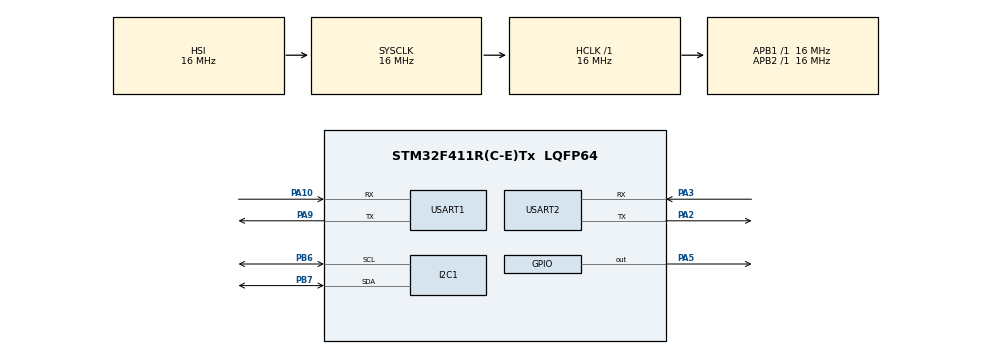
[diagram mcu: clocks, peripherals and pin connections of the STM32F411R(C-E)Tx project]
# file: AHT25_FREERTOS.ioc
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FREERTOS.Tasks01=defaultTask,0,128,StartDefaultTask,Default,NULL,Dynamic,NULL,NULL;myTask02,-3,128,StartTask02,Default,NULL,Dynamic,NULL,NULL
FREERTOS.configUSE_NEWLIB_REENTRANT=1
Mcu.Family=STM32F4
Mcu.Name=STM32F411R(C-E)Tx
Mcu.Package=LQFP64
NVIC.PriorityGroup=NVIC_PRIORITYGROUP_4
NVIC.TIM1_UP_TIM10_IRQn=true\:15\:0\:false\:false\:true\:false\:false\:true\:true
NVIC.TimeBase=TIM1_UP_TIM10_IRQn
NVIC.TimeBaseIP=TIM1
PA10.Mode=Asynchronous
PA10.Signal=USART1_RX
PA2.Mode=Asynchronous
PA2.Signal=USART2_TX
PA3.Mode=Asynchronous
PA3.Signal=USART2_RX
PA5.Signal=GPIO_Output
PA9.Mode=Asynchronous
PA9.Signal=USART1_TX
PB6.GPIO_Pu=GPIO_PULLUP
PB6.Mode=I2C
PB6.Signal=I2C1_SCL
PB7.GPIO_Pu=GPIO_PULLUP
PB7.Mode=I2C
PB7.Signal=I2C1_SDA
PH0\ -\ OSC_IN.Mode=HSE-External-Oscillator
PH0\ -\ OSC_IN.Signal=RCC_OSC_IN
PH1\ -\ OSC_OUT.Mode=HSE-External-Oscillator
PH1\ -\ OSC_OUT.Signal=RCC_OSC_OUT
ProjectManager.HeapSize=0x200
ProjectManager.StackSize=0x400
ProjectManager.TargetToolchain=STM32CubeIDE
RCC.AHBFreq_Value=16000000
RCC.APB1Freq_Value=16000000
RCC.APB2Freq_Value=16000000
RCC.CortexFreq_Value=16000000
RCC.HSE_VALUE=25000000
RCC.HSI_VALUE=16000000
RCC.LSE_VALUE=32768
RCC.SYSCLKFreq_VALUE=16000000
RCC.VCOOutputFreq_Value=192000000
USART1.VirtualMode=VM_ASYNC
USART2.VirtualMode=VM_ASYNC
VP_FREERTOS_VS_CMSIS_V1.Mode=CMSIS_V1
VP_SYS_VS_tim1.Mode=TIM1
board=custom

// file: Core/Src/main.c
/* USER CODE BEGIN Header */
/**
  ******************************************************************************
  * @file           : main.c
  * @brief          : Main program body
  ******************************************************************************
  * @attention
  *
  * Copyright (c) 2023 STMicroelectronics.
  * All rights reserved.
  *
  * This software is licensed under terms that can be found in the LICENSE file
  * in the root directory of this software component.
  * If no LICENSE file comes with this software, it is provided AS-IS.
  *
  ******************************************************************************
  */
/* USER CODE END Header */
#include "main.h"
#include "cmsis_os.h"
//#include "task.h"
#include "string.h"
#include "stdio.h"

I2C_HandleTypeDef hi2c1;

UART_HandleTypeDef huart1;
UART_HandleTypeDef huart2;

osThreadId TaskHandle1;
osThreadId TaskHandle2;
osThreadId TaskHandle3;

void SystemClock_Config(void);
static void MX_GPIO_Init(void);
static void MX_I2C1_Init(void);
static void MX_USART1_UART_Init(void);
static void MX_USART2_UART_Init(void);
void StartTask1(void const * argument);
void StartTask2(void const * argument);
void StartTask3(void const * argument);

/* USER CODE BEGIN PFP */
char buffer[128];

/* USER CODE END PFP */

/* USER CODE BEGIN 0 */
void send_task1(void)
{

	sprintf(buffer, ".....TASK_1_LED_TOGGLE.....\n\r");
	HAL_UART_Transmit(&huart2, (uint8_t*)buffer, strlen(buffer), 1000);

}
void send_task_1(void)
{

	HAL_GPIO_TogglePin(GPIOA, GPIO_PIN_5);

}
void send_task2(void)
{

	sprintf(buffer, ".....TASK_2.....\n\r");
	HAL_UART_Transmit(&huart2, (uint8_t*)buffer, strlen(buffer), 1000);

}
void send_task3(void)
{

	sprintf(buffer, ".....TASK_3.....\n\r");
	HAL_UART_Transmit(&huart2, (uint8_t*)buffer, strlen(buffer), 1000);

}

/* USER CODE END 0 */

int main(void)
{

  /* MCU Configuration--------------------------------------------------------*/

  /* Reset of all peripherals, Initializes the Flash interface and the Systick. */
  HAL_Init();

  /* Configure the system clock */
  SystemClock_Config();

  /* Initialize all configured peripherals */
  MX_GPIO_Init();
  MX_I2C1_Init();
  MX_USART1_UART_Init();
  MX_USART2_UART_Init();
  /* USER CODE BEGIN 2 */
	sprintf(buffer, ".....FREEFTOS_STARTS.....\n\r");
	HAL_UART_Transmit(&huart2, (uint8_t*)buffer, strlen(buffer), 1000);

  /* USER CODE END 2 */

	  /* definition and creation of Task1 */
	  osThreadDef(Task1, StartTask1, osPriorityAboveNormal, 0, 128);
	  TaskHandle1 = osThreadCreate(osThread(Task1), NULL);

	  /* definition and creation of Task2 */
	  osThreadDef(Task2, StartTask2, osPriorityNormal, 0, 128);
	  TaskHandle2 = osThreadCreate(osThread(Task2), NULL);

	  /* definition and creation of Task3 */
	  osThreadDef(Task3, StartTask3, osPriorityBelowNormal, 0, 128);
	  TaskHandle3 = osThreadCreate(osThread(Task3), NULL);

  /* Create the thread(s) */
  /* definition and creation of Task1 */
//  osThreadDef(Task1, StartTask1, osPriorityNormal, 0, 128);
//  TaskHandle1 = osThreadCreate(osThread(Task1), NULL);
//
//  /* definition and creation of Task2 */
//  osThreadDef(Task2, StartTask2, osPriorityAboveNormal, 0, 128);
//  TaskHandle2 = osThreadCreate(osThread(Task2), NULL);
//
//  /* definition and creation of Task3 */
//  osThreadDef(Task3, StartTask3, osPriorityBelowNormal, 0, 128);
//  TaskHandle3 = osThreadCreate(osThread(Task3), NULL);

  /* Start scheduler */
  osKernelStart();
  /* We should never get here as control is now taken by the scheduler */
  /* Infinite loop */
  while (1)
  {
	  //HAL_GPIO_TogglePin(GPIOA, GPIO_PIN_5);

  }
}

void SystemClock_Config(void)
{
  RCC_OscInitTypeDef RCC_OscInitStruct = {0};
  RCC_ClkInitTypeDef RCC_ClkInitStruct = {0};

  /** Configure the main internal regulator output voltage
  */
  __HAL_RCC_PWR_CLK_ENABLE();
  __HAL_PWR_VOLTAGESCALING_CONFIG(PWR_REGULATOR_VOLTAGE_SCALE1);

  /** Initializes the RCC Oscillators according to the specified parameters
  * in the RCC_OscInitTypeDef structure.
  */
  RCC_OscInitStruct.OscillatorType = RCC_OSCILLATORTYPE_HSI;
  RCC_OscInitStruct.HSIState = RCC_HSI_ON;
  RCC_OscInitStruct.HSICalibrationValue = RCC_HSICALIBRATION_DEFAULT;
  RCC_OscInitStruct.PLL.PLLState = RCC_PLL_NONE;
  if (HAL_RCC_OscConfig(&RCC_OscInitStruct) != HAL_OK)
  {
    Error_Handler();
  }

  /** Initializes the CPU, AHB and APB buses clocks
  */
  RCC_ClkInitStruct.ClockType = RCC_CLOCKTYPE_HCLK|RCC_CLOCKTYPE_SYSCLK
                              |RCC_CLOCKTYPE_PCLK1|RCC_CLOCKTYPE_PCLK2;
  RCC_ClkInitStruct.SYSCLKSource = RCC_SYSCLKSOURCE_HSI;
  RCC_ClkInitStruct.AHBCLKDivider = RCC_SYSCLK_DIV1;
  RCC_ClkInitStruct.APB1CLKDivider = RCC_HCLK_DIV1;
  RCC_ClkInitStruct.APB2CLKDivider = RCC_HCLK_DIV1;

  if (HAL_RCC_ClockConfig(&RCC_ClkInitStruct, FLASH_LATENCY_0) != HAL_OK)
  {
    Error_Handler();
  }
}

static void MX_I2C1_Init(void)
{

  hi2c1.Instance = I2C1;
  hi2c1.Init.ClockSpeed = 100000;
  hi2c1.Init.DutyCycle = I2C_DUTYCYCLE_2;
  hi2c1.Init.OwnAddress1 = 0;
  hi2c1.Init.AddressingMode = I2C_ADDRESSINGMODE_7BIT;
  hi2c1.Init.DualAddressMode = I2C_DUALADDRESS_DISABLE;
  hi2c1.Init.OwnAddress2 = 0;
  hi2c1.Init.GeneralCallMode = I2C_GENERALCALL_DISABLE;
  hi2c1.Init.NoStretchMode = I2C_NOSTRETCH_DISABLE;
  if (HAL_I2C_Init(&hi2c1) != HAL_OK)
  {
    Error_Handler();
  }

}

static void MX_USART1_UART_Init(void)
{

  huart1.Instance = USART1;
  huart1.Init.BaudRate = 115200;
  huart1.Init.WordLength = UART_WORDLENGTH_8B;
  huart1.Init.StopBits = UART_STOPBITS_1;
  huart1.Init.Parity = UART_PARITY_NONE;
  huart1.Init.Mode = UART_MODE_TX_RX;
  huart1.Init.HwFlowCtl = UART_HWCONTROL_NONE;
  huart1.Init.OverSampling = UART_OVERSAMPLING_16;
  if (HAL_UART_Init(&huart1) != HAL_OK)
  {
    Error_Handler();
  }

}

static void MX_USART2_UART_Init(void)
{

  huart2.Instance = USART2;
  huart2.Init.BaudRate = 115200;
  huart2.Init.WordLength = UART_WORDLENGTH_8B;
  huart2.Init.StopBits = UART_STOPBITS_1;
  huart2.Init.Parity = UART_PARITY_NONE;
  huart2.Init.Mode = UART_MODE_TX_RX;
  huart2.Init.HwFlowCtl = UART_HWCONTROL_NONE;
  huart2.Init.OverSampling = UART_OVERSAMPLING_16;
  if (HAL_UART_Init(&huart2) != HAL_OK)
  {
    Error_Handler();
  }

}

static void MX_GPIO_Init(void)
{
  GPIO_InitTypeDef GPIO_InitStruct = {0};

  /* GPIO Ports Clock Enable */
  __HAL_RCC_GPIOH_CLK_ENABLE();
  __HAL_RCC_GPIOA_CLK_ENABLE();
  __HAL_RCC_GPIOB_CLK_ENABLE();

  /*Configure GPIO pin Output Level */
  HAL_GPIO_WritePin(GPIOA, GPIO_PIN_5, GPIO_PIN_RESET);

  /*Configure GPIO pin : PA5 */
  GPIO_InitStruct.Pin = GPIO_PIN_5;
  GPIO_InitStruct.Mode = GPIO_MODE_OUTPUT_PP;
  GPIO_InitStruct.Pull = GPIO_NOPULL;
  GPIO_InitStruct.Speed = GPIO_SPEED_FREQ_LOW;
  HAL_GPIO_Init(GPIOA, &GPIO_InitStruct);

}

/* USER CODE BEGIN Header_StartTask02 */
/**
* @brief Function implementing the myTask02 thread.
* @param argument: Not used
* @retval None
*/

void StartTask1(void const * argument)
{
  /* USER CODE BEGIN 5 */
  /* Infinite loop */
  for(;;)
  {
	  send_task1();
	  send_task_1();
	  osDelay(1000);
  }
  /* USER CODE END 5 */
}
/* USER CODE END Header_StartTask02 */
void StartTask2(void const * argument)
{
  /* USER CODE BEGIN StartTask02 */
  /* Infinite loop */
  for(;;)
  {
	  	send_task2();
	  	osDelay(2000);
  }
  /* USER CODE END StartTask02 */
}

void StartTask3(void const * argument)
{
  /* USER CODE BEGIN StartTask02 */
  /* Infinite loop */
  while(1)
  {
	  	send_task3();
		osDelay(3000);
  }
  /* USER CODE END StartTask02 */
}

void HAL_TIM_PeriodElapsedCallback(TIM_HandleTypeDef *htim)
{
  if (htim->Instance == TIM1) {
    HAL_IncTick();
  }
}

void Error_Handler(void)
{
  __disable_irq();
  while (1)
  {
  }
}
